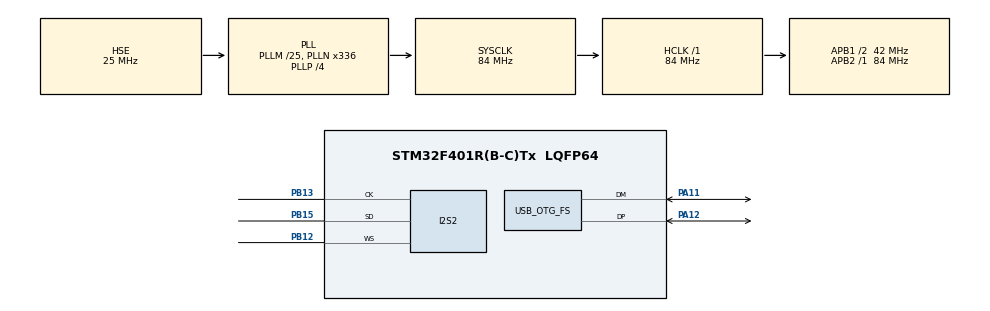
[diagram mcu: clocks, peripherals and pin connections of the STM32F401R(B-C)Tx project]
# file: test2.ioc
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Dma.Request0=SPI2_RX
Dma.SPI2_RX.0.Direction=DMA_PERIPH_TO_MEMORY
Dma.SPI2_RX.0.FIFOMode=DMA_FIFOMODE_DISABLE
Dma.SPI2_RX.0.Instance=DMA1_Stream3
Dma.SPI2_RX.0.MemDataAlignment=DMA_MDATAALIGN_HALFWORD
Dma.SPI2_RX.0.MemInc=DMA_MINC_ENABLE
Dma.SPI2_RX.0.Mode=DMA_CIRCULAR
Dma.SPI2_RX.0.PeriphDataAlignment=DMA_PDATAALIGN_HALFWORD
Dma.SPI2_RX.0.PeriphInc=DMA_PINC_DISABLE
Dma.SPI2_RX.0.Priority=DMA_PRIORITY_LOW
I2S2.AudioFreq=I2S_AUDIOFREQ_16K
I2S2.ErrorAudioFreq=0.0 %
I2S2.FullDuplexMode=I2S_FULLDUPLEXMODE_DISABLE
I2S2.Instance=SPI$Index
I2S2.Mode=I2S_MODE_MASTER_RX
I2S2.RealAudioFreq=16.0 KHz
I2S2.VirtualMode=I2S_MODE_MASTER
Mcu.Family=STM32F4
Mcu.Name=STM32F401R(B-C)Tx
Mcu.Package=LQFP64
NVIC.DMA1_Stream3_IRQn=true\:0\:0\:false\:false\:true\:false\:true\:true
NVIC.OTG_FS_IRQn=true\:0\:0\:false\:false\:true\:false\:true\:true
NVIC.PriorityGroup=NVIC_PRIORITYGROUP_4
PA11.Mode=Device_Only
PA11.Signal=USB_OTG_FS_DM
PA12.Mode=Device_Only
PA12.Signal=USB_OTG_FS_DP
PB12.Mode=Half_Duplex_Master
PB12.Signal=I2S2_WS
PB13.Mode=Half_Duplex_Master
PB13.Signal=I2S2_CK
PB15.Mode=Half_Duplex_Master
PB15.Signal=I2S2_SD
PH0\ -\ OSC_IN.Mode=HSE-External-Oscillator
PH0\ -\ OSC_IN.Signal=RCC_OSC_IN
PH1\ -\ OSC_OUT.Mode=HSE-External-Oscillator
PH1\ -\ OSC_OUT.Signal=RCC_OSC_OUT
ProjectManager.HeapSize=0x800
ProjectManager.StackSize=0x800
ProjectManager.TargetToolchain=CMake
RCC.48MHZClocksFreq_Value=48000000
RCC.AHBFreq_Value=84000000
RCC.APB1CLKDivider=RCC_HCLK_DIV2
RCC.APB1Freq_Value=42000000
RCC.APB1TimFreq_Value=84000000
RCC.APB2Freq_Value=84000000
RCC.APB2TimFreq_Value=84000000
RCC.CortexFreq_Value=84000000
RCC.HCLKFreq_Value=84000000
RCC.HSE_VALUE=25000000
RCC.HSI_VALUE=16000000
RCC.LSE_VALUE=32768
RCC.PLLI2SN=256
RCC.PLLI2SR=5
RCC.PLLM=25
RCC.PLLN=336
RCC.PLLP=RCC_PLLP_DIV4
RCC.PLLQ=7
RCC.SYSCLKFreq_VALUE=84000000
RCC.SYSCLKSource=RCC_SYSCLKSOURCE_PLLCLK
RCC.VCOOutputFreq_Value=336000000
USB_DEVICE.CLASS_NAME_FS=CDC
USB_DEVICE.VirtualMode=Cdc
USB_DEVICE.VirtualModeFS=Cdc_FS
USB_OTG_FS.VirtualMode=Device_Only
VP_USB_DEVICE_VS_USB_DEVICE_CDC_FS.Mode=CDC_FS
board=custom

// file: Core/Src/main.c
/* USER CODE BEGIN Header */
/**
  ******************************************************************************
  * @file           : main.c
  * @brief          : I2S mic → USB CDC audio bridge
  *                   STM32F401RCTx | I2S2 Master RX | 16-bit 16 kHz
  *                   DMA1 Stream3 circular, double-buffer (ping-pong)
  ******************************************************************************
  * @attention
  *
  * Copyright (c) 2026 STMicroelectronics.
  * All rights reserved.
  *
  * This software is licensed under terms that can be found in the LICENSE file
  * in the root directory of this software component.
  * If no LICENSE file comes with this software, it is provided AS-IS.
  *
  ******************************************************************************
  */
/* USER CODE END Header */

#include "main.h"
#include "usb_device.h"

/* USER CODE BEGIN Includes */
#include "usbd_cdc_if.h"   /* CDC_Transmit_FS() */
/* USER CODE END Includes */

/* USER CODE BEGIN PD */

/*
 * I2S Philips standard always clocks 32-bit frames (L word + R word) at the
 * DMA level, even when DataFormat = 16B.  A mono mic (L/R pin tied low)
 * puts real audio on the LEFT slot and zeros on the RIGHT slot.
 *
 * So the DMA buffer layout per frame is:
 *   [L_sample, R_sample(=0), L_sample, R_sample(=0), ...]
 *
 * AUDIO_FRAMES   – number of mono output samples per half-buffer.
 * DMA_BUF_WORDS  – total int16 words the DMA must fill (2× frames, × 2 halves).
 *
 * USB CDC FS bulk packet ≤ 64 bytes → 32 int16 mono samples per half.
 * Each half therefore holds 32 frames × 2 slots = 64 DMA words.
 */
#define AUDIO_FRAMES      32u                          /* mono samples per half   */
#define DMA_BUF_WORDS     (AUDIO_FRAMES * 2u * 2u)    /* L+R slots, two halves   */
#define HALF_DMA_WORDS    (DMA_BUF_WORDS / 2u)        /* words per DMA half      */
#define OUT_BYTES         (AUDIO_FRAMES * sizeof(int16_t))  /* USB payload bytes  */

/* USER CODE END PD */

I2S_HandleTypeDef hi2s2;
DMA_HandleTypeDef hdma_spi2_rx;

/* USER CODE BEGIN PV */

/*
 * Circular DMA buffer – layout per half: [L0, R0, L1, R1, ... L31, R31]
 * Total = AUDIO_FRAMES * 2 slots * 2 halves = 128 int16 words.
 * MUST be in a DMA-accessible RAM region (all SRAM on F401 is DMA-capable).
 */
static int16_t i2s_dma_buf[DMA_BUF_WORDS];

/*
 * Mono output staging buffer: left-channel samples extracted from one half.
 * Filled in the main loop; CDC_Transmit_FS points directly at this.
 */
static int16_t out_buf[AUDIO_FRAMES];

/*
 * Set to non-zero in the DMA callback; cleared after the USB send.
 * Values: 1 = first half ready, 2 = second half ready.
 */
static volatile uint8_t audio_ready = 0;

/* USER CODE END PV */

void SystemClock_Config(void);
static void MX_GPIO_Init(void);
static void MX_DMA_Init(void);
static void MX_I2S2_Init(void);

/* USER CODE BEGIN 0 */

/**
 * @brief  DMA half-transfer complete – first half of i2s_dma_buf is ready.
 */
void HAL_I2S_RxHalfCpltCallback(I2S_HandleTypeDef *hi2s)
{
    if (hi2s->Instance == SPI2)
    {
        audio_ready = 1;
    }
}

/**
 * @brief  DMA full-transfer complete – second half of i2s_dma_buf is ready.
 */
void HAL_I2S_RxCpltCallback(I2S_HandleTypeDef *hi2s)
{
    if (hi2s->Instance == SPI2)
    {
        audio_ready = 2;
    }
}

/* USER CODE END 0 */

int main(void)
{

    /* MCU Configuration -------------------------------------------------------*/
    HAL_Init();

    SystemClock_Config();

    MX_GPIO_Init();
    MX_DMA_Init();
    MX_I2S2_Init();
    MX_USB_DEVICE_Init();

    /* USER CODE BEGIN 2 */

    /*
     * Start I2S DMA in circular mode.
     * HAL_I2S_Receive_DMA keeps refilling i2s_dma_buf continuously and fires
     * RxHalfCplt / RxCplt callbacks for the ping-pong mechanism.
     */
    HAL_I2S_Receive_DMA(&hi2s2, (uint16_t *)i2s_dma_buf, DMA_BUF_WORDS);

    /* USER CODE END 2 */

    /* Infinite loop -----------------------------------------------------------*/
    while (1)
    {

        /* USER CODE BEGIN 3 */

        uint8_t ready = audio_ready;        /* snapshot (8-bit read is atomic) */

        if (ready != 0)
        {
            audio_ready = 0;                /* clear flag before transmitting  */

            /*
             * Point at the half that is safe to read:
             *   ready == 1  →  first half  starts at index 0
             *   ready == 2  →  second half starts at index HALF_DMA_WORDS
             *
             * Each half contains AUDIO_FRAMES interleaved L/R pairs:
             *   src[0]=L0, src[1]=R0, src[2]=L1, src[3]=R1, ...
             *
             * Extract only the left-channel samples (even indices).
             */
            int16_t *src = (ready == 1) ? &i2s_dma_buf[0]
                                        : &i2s_dma_buf[HALF_DMA_WORDS];

            for (uint32_t i = 0; i < AUDIO_FRAMES; i++)
            {
                out_buf[i] = src[i * 2];   /* left slot; skip right slot (i*2+1) */
            }

            /*
             * Send raw int16 PCM bytes over USB CDC.
             * CDC_Transmit_FS() is non-blocking; USBD_BUSY means the previous
             * packet hasn't cleared — drop silently rather than stall DMA.
             */
            CDC_Transmit_FS((uint8_t *)out_buf, (uint16_t)OUT_BYTES);
        }
    }
    /* USER CODE END 3 */
}

void SystemClock_Config(void)
{
    RCC_OscInitTypeDef RCC_OscInitStruct = {0};
    RCC_ClkInitTypeDef RCC_ClkInitStruct = {0};

    __HAL_RCC_PWR_CLK_ENABLE();
    __HAL_PWR_VOLTAGESCALING_CONFIG(PWR_REGULATOR_VOLTAGE_SCALE2);

    RCC_OscInitStruct.OscillatorType = RCC_OSCILLATORTYPE_HSE;
    RCC_OscInitStruct.HSEState       = RCC_HSE_ON;
    RCC_OscInitStruct.PLL.PLLState   = RCC_PLL_ON;
    RCC_OscInitStruct.PLL.PLLSource  = RCC_PLLSOURCE_HSE;
    RCC_OscInitStruct.PLL.PLLM       = 25;
    RCC_OscInitStruct.PLL.PLLN       = 336;
    RCC_OscInitStruct.PLL.PLLP       = RCC_PLLP_DIV4;
    RCC_OscInitStruct.PLL.PLLQ       = 7;
    if (HAL_RCC_OscConfig(&RCC_OscInitStruct) != HAL_OK)
    {
        Error_Handler();
    }

    RCC_ClkInitStruct.ClockType      = RCC_CLOCKTYPE_HCLK | RCC_CLOCKTYPE_SYSCLK
                                     | RCC_CLOCKTYPE_PCLK1 | RCC_CLOCKTYPE_PCLK2;
    RCC_ClkInitStruct.SYSCLKSource   = RCC_SYSCLKSOURCE_PLLCLK;
    RCC_ClkInitStruct.AHBCLKDivider  = RCC_SYSCLK_DIV1;
    RCC_ClkInitStruct.APB1CLKDivider = RCC_HCLK_DIV2;
    RCC_ClkInitStruct.APB2CLKDivider = RCC_HCLK_DIV1;

    if (HAL_RCC_ClockConfig(&RCC_ClkInitStruct, FLASH_LATENCY_2) != HAL_OK)
    {
        Error_Handler();
    }
}

static void MX_I2S2_Init(void)
{

    hi2s2.Instance            = SPI2;
    hi2s2.Init.Mode           = I2S_MODE_MASTER_RX;
    hi2s2.Init.Standard       = I2S_STANDARD_PHILIPS;
    hi2s2.Init.DataFormat     = I2S_DATAFORMAT_16B;
    hi2s2.Init.MCLKOutput     = I2S_MCLKOUTPUT_DISABLE;
    hi2s2.Init.AudioFreq      = I2S_AUDIOFREQ_16K;
    hi2s2.Init.CPOL           = I2S_CPOL_LOW;
    hi2s2.Init.ClockSource    = I2S_CLOCK_PLL;
    hi2s2.Init.FullDuplexMode = I2S_FULLDUPLEXMODE_DISABLE;
    if (HAL_I2S_Init(&hi2s2) != HAL_OK)
    {
        Error_Handler();
    }

}

static void MX_DMA_Init(void)
{
    __HAL_RCC_DMA1_CLK_ENABLE();

    HAL_NVIC_SetPriority(DMA1_Stream3_IRQn, 0, 0);
    HAL_NVIC_EnableIRQ(DMA1_Stream3_IRQn);
}

static void MX_GPIO_Init(void)
{

    __HAL_RCC_GPIOH_CLK_ENABLE();
    __HAL_RCC_GPIOB_CLK_ENABLE();
    __HAL_RCC_GPIOA_CLK_ENABLE();

}

/**
  * @brief  Error handler
  * @retval None
  */
void Error_Handler(void)
{
    __disable_irq();
    while (1) {}
}
